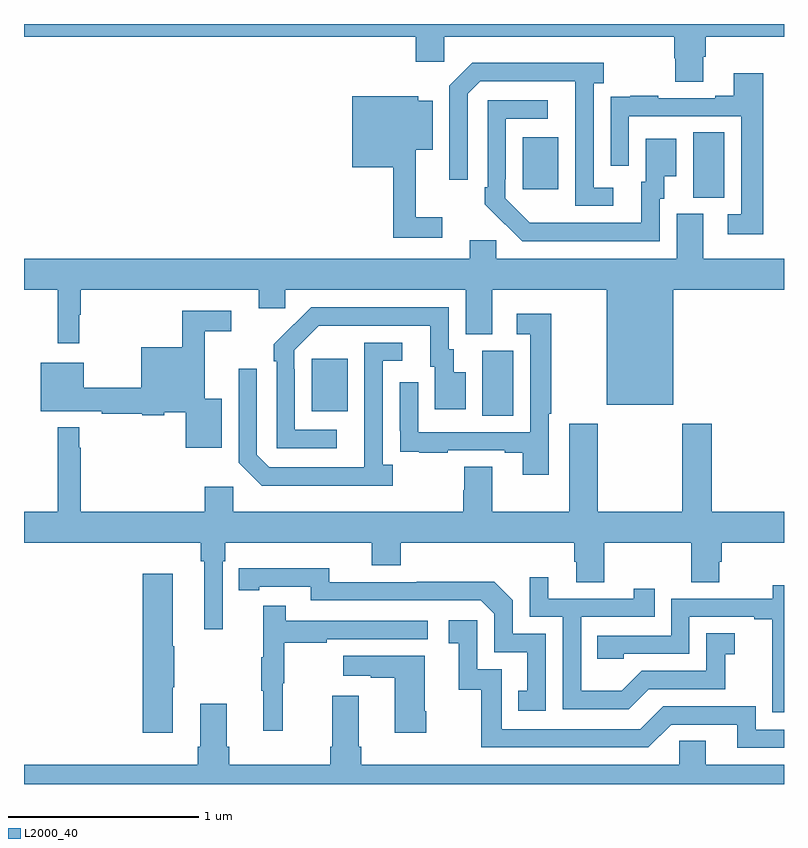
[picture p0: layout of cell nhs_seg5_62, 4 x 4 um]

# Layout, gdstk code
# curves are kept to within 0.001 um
import gdstk
lib = gdstk.Library(unit=1e-6, precision=1e-09)
def R(c, l, rs):  # rectangles x0, y0, x1, y1
    for r in rs: c.add(gdstk.rectangle(r[:2], r[2:], *l))
def P(c, l, *ps):  # polygons
    for p in ps: c.add(gdstk.Polygon(p, *l))
L2000_40 = (2000, 40)

nhs_seg5_62 = lib.new_cell('nhs_seg5_62')
R(nhs_seg5_62, L2000_40, [(115.412,882.736,115.576,883.08), (114.515,882.761,114.703,883.036), (116.522,883.885,116.686,884.228), (115.625,883.929,115.813,884.203)])
P(nhs_seg5_62, L2000_40, [(116.575,884.626),(116.588,884.626),(116.588,884.732),(117,884.732),(117,884.799),(113,884.799),(113,884.732),(115.061,884.732),(115.061,884.601),(115.212,884.601),(115.212,884.732),(116.423,884.732),(116.423,884.619),(116.428,884.619),(116.428,884.494),(116.575,884.494)],
  [(116.101,883.938),(115.998,883.938),(115.998,884.486),(116.05,884.486),(116.05,884.596),(115.36,884.596),(115.239,884.475),(115.239,883.98),(115.335,883.98),(115.335,884.433),(115.401,884.499),(115.901,884.499),(115.902,883.842),(116.101,883.842)],
  [(116.891,884.539),(116.735,884.539),(116.735,884.422),(116.639,884.422),(116.639,884.409),(116.339,884.409),(116.339,884.422),(116.191,884.422),(116.191,884.415),(116.089,884.415),(116.089,884.306),(116.088,884.306),(116.088,884.052),(116.184,884.052),(116.184,884.313),(116.775,884.313),(116.775,883.797),(116.703,883.797),(116.703,883.692),(116.891,883.692)],
  [(115.201,883.783),(115.061,883.783),(115.061,884.138),(115.15,884.138),(115.15,884.395),(115.074,884.395),(115.074,884.419),(114.728,884.419),(114.728,884.045),(114.943,884.045),(114.943,883.674),(115.201,883.674)],
  [(116.346,883.878),(116.371,883.878),(116.371,883.997),(116.434,883.997),(116.434,884.194),(116.273,884.194),(116.273,883.968),(116.249,883.968),(116.249,883.752),(115.662,883.753),(115.533,883.881),(115.533,883.981),(115.536,883.981),(115.536,884.301),(115.756,884.301),(115.756,884.397),(115.44,884.397),(115.44,883.939),(115.425,883.939),(115.425,883.851),(115.622,883.656),(116.346,883.656)],
  [(116.416,883.4),(117,883.4),(117,883.564),(116.575,883.564),(116.575,883.8),(116.435,883.8),(116.435,883.564),(115.485,883.564),(115.485,883.662),(115.346,883.662),(115.346,883.564),(113,883.564),(113,883.4),(113.177,883.4),(113.177,883.119),(113.291,883.119),(113.291,883.268),(113.299,883.268),(113.299,883.4),(114.236,883.4),(114.236,883.302),(114.375,883.302),(114.375,883.4),(115.325,883.4),(115.325,883.165),(115.465,883.165),(115.465,883.4),(116.066,883.4),(116.066,882.794),(116.416,882.794)],
  [(114.646,882.663),(114.426,882.663),(114.426,882.983),(114.423,882.983),(114.423,883.083),(114.552,883.212),(115.139,883.212),(115.139,882.996),(115.163,882.996),(115.163,882.771),(115.324,882.771),(115.324,882.967),(115.261,882.967),(115.261,883.086),(115.236,883.086),(115.236,883.308),(114.512,883.308),(114.315,883.113),(114.315,883.025),(114.33,883.025),(114.33,882.567),(114.646,882.567)],
  [(114.04,882.826),(113.951,882.826),(113.951,883.182),(114.091,883.182),(114.091,883.29),(113.833,883.29),(113.833,883.099),(113.618,883.099),(113.618,882.884),(113.314,882.884),(113.314,883.015),(113.087,883.015),(113.087,882.761),(113.41,882.761),(113.41,882.748),(113.622,882.748),(113.622,882.74),(113.739,882.74),(113.739,882.755),(113.852,882.755),(113.852,882.569),(114.04,882.569)],
  [(115.761,882.748),(115.774,882.748),(115.774,883.273),(115.593,883.273),(115.593,883.167),(115.665,883.167),(115.665,882.651),(115.074,882.651),(115.074,882.913),(114.978,882.913),(114.978,882.658),(114.979,882.658),(114.979,882.549),(115.081,882.549),(115.081,882.543),(115.229,882.543),(115.229,882.555),(115.529,882.555),(115.529,882.543),(115.625,882.543),(115.625,882.426),(115.761,882.426)],
  [(114.94,882.478),(114.888,882.478),(114.888,883.026),(114.991,883.026),(114.991,883.122),(114.792,883.122),(114.791,882.465),(114.291,882.465),(114.225,882.531),(114.225,882.985),(114.129,882.985),(114.129,882.489),(114.25,882.368),(114.94,882.368)],
  [(114.045,881.972),(114.059,881.972),(114.059,882.068),(114.83,882.068),(114.83,881.951),(114.983,881.951),(114.983,882.068),(115.895,882.068),(115.895,881.97),(115.907,881.97),(115.907,881.86),(116.055,881.86),(116.055,882.068),(116.512,882.068),(116.512,881.86),(116.659,881.86),(116.659,881.97),(116.672,881.97),(116.672,882.068),(117,882.068),(117,882.232),(116.619,882.232),(116.619,882.694),(116.464,882.694),(116.464,882.232),(116.019,882.232),(116.019,882.694),(115.871,882.694),(115.871,882.232),(115.465,882.232),(115.465,882.47),(115.318,882.47),(115.318,882.345),(115.313,882.345),(115.313,882.232),(114.102,882.232),(114.102,882.364),(113.951,882.364),(113.951,882.232),(113.299,882.232),(113.299,882.569),(113.292,882.569),(113.292,882.676),(113.177,882.676),(113.177,882.232),(113,882.232),(113,882.068),(113.929,882.068),(113.929,881.972),(113.948,881.972),(113.948,881.613),(114.045,881.613)],
  [(115.746,881.589),(115.572,881.589),(115.572,881.766),(115.474,881.864),(115.066,881.864),(115.066,881.862),(114.606,881.862),(114.606,881.935),(114.13,881.934),(114.13,881.818),(114.238,881.818),(114.238,881.838),(114.51,881.838),(114.51,881.766),(115.404,881.766),(115.476,881.694),(115.476,881.493),(115.649,881.493),(115.649,881.289),(115.6,881.289),(115.6,881.184),(115.746,881.184)],
  [(113.782,881.308),(113.79,881.308),(113.79,881.525),(113.782,881.525),(113.782,881.905),(113.624,881.905),(113.624,881.07),(113.782,881.07)],
  [(116.287,881.298),(116.691,881.298),(116.691,881.483),(116.74,881.483),(116.74,881.593),(116.592,881.593),(116.592,881.394),(116.25,881.394),(116.146,881.29),(115.932,881.29),(115.932,881.679),(116.321,881.679),(116.321,881.827),(116.21,881.827),(116.21,881.775),(115.759,881.775),(115.759,881.887),(115.662,881.887),(115.662,881.679),(115.836,881.679),(115.836,881.193),(116.182,881.193)],
  [(117,881.844),(116.94,881.844),(116.94,881.775),(116.406,881.775),(116.406,881.58),(116.017,881.58),(116.017,881.457),(116.157,881.457),(116.157,881.484),(116.502,881.484),(116.502,881.679),(116.843,881.679),(116.843,881.667),(116.939,881.667),(116.939,881.383),(116.938,881.383),(116.938,881.177),(117,881.177)],
  [(114.362,881.328),(114.37,881.328),(114.37,881.542),(114.593,881.542),(114.593,881.562),(115.126,881.562),(115.126,881.658),(114.377,881.658),(114.377,881.737),(114.26,881.737),(114.26,881.465),(114.249,881.465),(114.249,881.291),(114.26,881.291),(114.26,881.079),(114.362,881.079)],
  [(117,881.085),(116.85,881.085),(116.85,881.208),(116.364,881.208),(116.244,881.088),(115.515,881.088),(115.515,881.403),(115.386,881.403),(115.386,881.662),(115.236,881.662),(115.236,881.541),(115.289,881.541),(115.289,881.295),(115.407,881.295),(115.407,880.992),(116.286,880.992),(116.406,881.112),(116.753,881.112),(116.753,880.989),(117,880.989)],
  [(115.116,881.182),(115.108,881.182),(115.108,881.473),(114.681,881.473),(114.681,881.369),(114.824,881.369),(114.824,881.359),(114.95,881.359),(114.95,881.07),(115.116,881.07)],
  [(117,880.9),(116.587,880.9),(116.587,881.027),(116.448,881.027),(116.448,880.9),(114.776,880.9),(114.776,880.996),(114.763,880.996),(114.763,881.263),(114.623,881.263),(114.623,880.996),(114.611,880.996),(114.611,880.9),(114.08,880.9),(114.08,880.996),(114.067,880.996),(114.067,881.221),(113.927,881.221),(113.927,880.996),(113.915,880.996),(113.915,880.9),(113,880.9),(113,880.799),(117,880.799)])

lib.write_gds('nhs_seg5_62.gds')
